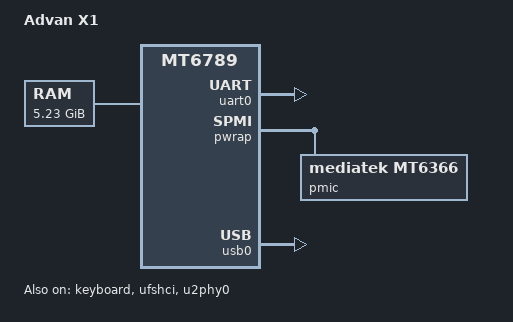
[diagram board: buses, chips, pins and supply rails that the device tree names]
// SPDX-License-Identifier: GPL-2.0-only
/*
 * Advan X1 (MediaTek MT6789 / Helio G99) U-Boot Device Tree.
 */

/dts-v1/;

#include <dt-bindings/input/input.h>
#include "mt6789.dtsi"

/ {
	model = "Advan X1";
	compatible = "advan,x1", "mediatek,mt6789";

	aliases {
		serial0 = &uart0;
	};

	chosen {
		stdout-path = "serial0:921600n8";
		#address-cells = <2>;
		#size-cells = <2>;
		ranges;

		/*
		 * Pre-initialized DSI video-mode framebuffer (1080x2460 visible,
		 * 1088px = 4352B stride, 2464 total lines). board_fix_fdt()
		 * updates reg to the active OVL0_L0_ADDR before simplefb probes.
		 */
		framebuffer@fe007000 {
			compatible = "simple-framebuffer";
			reg = <0x0 0xfe007000 0x0 0x00a3a000>;
			width = <1080>;
			height = <2460>;
			stride = <4352>;
			format = "a8r8g8b8";
			status = "okay";
		};
	};

	/*
	 * Clean DRAM windows outside secure/coprocessor/modem reservations:
	 *   - Bank 0: 0x60000000..0x6EFFFFFF (240 MiB, U-Boot & kernel staging)
	 *   - Bank 1: 0x100000000..0x13FDFFFFF (1022 MiB, stops 2 MiB below dramc-rk0)
	 *   - Bank 2: 0x140000000..0x23FDFFFFF (4094 MiB, stops 2 MiB below dramc-rk1)
	 * Linux boots its own FIT DTB (CONFIG_ARCH_FIXUP_FDT_MEMORY=n) with the
	 * full 8 GiB /memory@40000000 node and all stock no-map carveouts.
	 */
	memory@60000000 {
		device_type = "memory";
		reg = <0x0 0x60000000 0x0 0x0f000000>,
		      <0x1 0x00000000 0x0 0x3fe00000>,
		      <0x1 0x40000000 0x0 0xffe00000>;
	};

	reserved-memory {
		#address-cells = <2>;
		#size-cells = <2>;
		ranges;

		ramoops@48090000 {
			reg = <0x0 0x48090000 0x0 0x000e0000>;
			no-map;
		};

		framebuffer_reserved: framebuffer@fe007000 {
			reg = <0x0 0xfe007000 0x0 0x01ff8000>;
			no-map;
		};
	};
};

&uart0 {
	status = "okay";
};

&keyboard {
	keypad,num-rows = <1>;
	keypad,num-columns = <1>;
	linux,keymap = <MATRIX_KEY(0, 0, KEY_VOLUMEDOWN)>;
	status = "okay";
};

&pwrap {
	status = "okay";

	pmic: pmic {
		compatible = "mediatek,mt6366", "mediatek,mt6358";

		keys {
			compatible = "mediatek,mt6358-keys";

			power {
				linux,keycodes = <KEY_POWER>;
			};

			home {
				linux,keycodes = <KEY_VOLUMEUP>;
			};
		};
	};
};

&ufshci {
	status = "okay";
};

&u2phy0 {
	status = "okay";
};

&usb0 {
	status = "okay";
};
